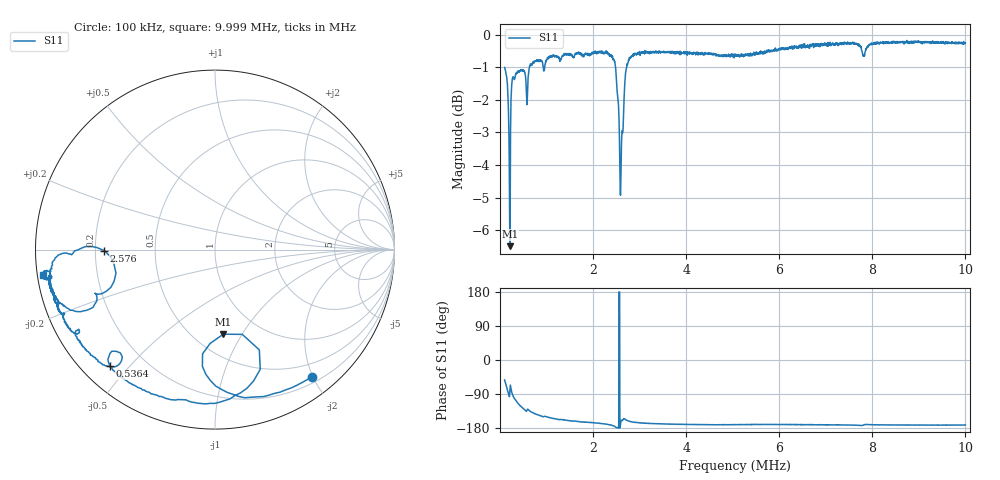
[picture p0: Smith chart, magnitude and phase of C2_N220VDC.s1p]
# HZ S RI R 50
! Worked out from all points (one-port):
!   2020 points, 100 kHz to 9.999 MHz, reference 50 ohm
!   lowest |S11| = -6.5 dB at 212.8 kHz (marker M1), VSWR 2.80, Z = 34.3 - j41.6 ohm
!   |S11| at or under -10 dB: nowhere
!   S11 on the Smith chart (normalised r, x): 100 kHz: 0.29, -1.98; 536.4 kHz: 0.08, -0.44; 2.576 MHz: 0.24, -0.00; 9.999 MHz: 0.02, -0.07
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100000  0.5394 -0.7085
139224  0.3005 -0.8112
163739  0.1316 -0.8181
212769  0.0464 -0.4713
266702  -0.00182 -0.8569
305926  -0.1602 -0.8379
413792  -0.4111 -0.7742
536367  -0.5862 -0.6493
649136  -0.6351 -0.6339
859965  -0.7642 -0.5021
1340459  -0.8548 -0.361
2134745  -0.9192 -0.2099
2419119  -0.9198 -0.1146
2487761  -0.8846 -0.042
2531888  -0.7989 -0.0289
2576015  -0.6186 -0.00518
2625045  -0.6692 -0.2434
2649560  -0.6697 -0.3034
2698590  -0.806 -0.3385
2767232  -0.8634 -0.2973
2909419  -0.8996 -0.2515
3816474  -0.9273 -0.1684
5052030  -0.9168 -0.1501
6287586  -0.9394 -0.1583
7528045  -0.9602 -0.139
7822225  -0.9154 -0.1432
8763601  -0.9631 -0.1468
9999157  -0.9603 -0.1412
